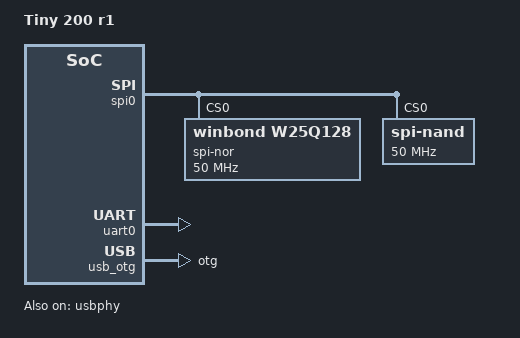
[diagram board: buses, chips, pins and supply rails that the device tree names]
// SPDX-License-Identifier: (GPL-2.0+ OR X11)
/*
 * Copyright 2018 Icenowy Zheng <icenowy@aosc.io>
 */

/dts-v1/;
#include "suniv-f1c200s.dtsi"

#include <dt-bindings/gpio/gpio.h>

/ {
	model = "Tiny 200 r1";
	compatible = "mangopi,mangopi-r1", "allwinner,suniv-f1c200s",
		     "allwinner,suniv";

	aliases {
		serial0 = &uart0;
		spi0 = &spi0;
	};

	chosen {
		stdout-path = "serial0:115200n8";
	};
};

&otg_sram {
	status = "okay";
};

&spi0 {
	pinctrl-names = "default";
	pinctrl-0 = <&spi0_pins_a>;
	status = "okay";

	spi-nor@0 {
		#address-cells = <1>;
		#size-cells = <1>;
		compatible = "winbond,w25q128", "jedec,spi-nor";
		reg = <0>;
		spi-max-frequency = <50000000>;
	};

    spi-nand@0 {
		#address-cells = <1>;
		#size-cells = <1>;
		compatible = "spi-nand";
		reg = <0>;
		spi-max-frequency = <50000000>;
	};
};

&uart0 {
	pinctrl-names = "default";
	pinctrl-0 = <&uart0_pins_a>;
	status = "okay";
};

// &uart1 {
// 	pinctrl-names = "default";
// 	pinctrl-0 = <&uart1_pins_a>;
// 	status = "okay";
// };

&usb_otg {
	dr_mode = "otg";
	status = "okay";
};

&usbphy {
	usb0_id_det-gpio = <&pio 4 2 GPIO_ACTIVE_HIGH>; /* PE2 */
	status = "okay";
};

// &mmc0 {
//     status = "okay";
// }

// &mmc2 {
//     status = "okay";
// }
